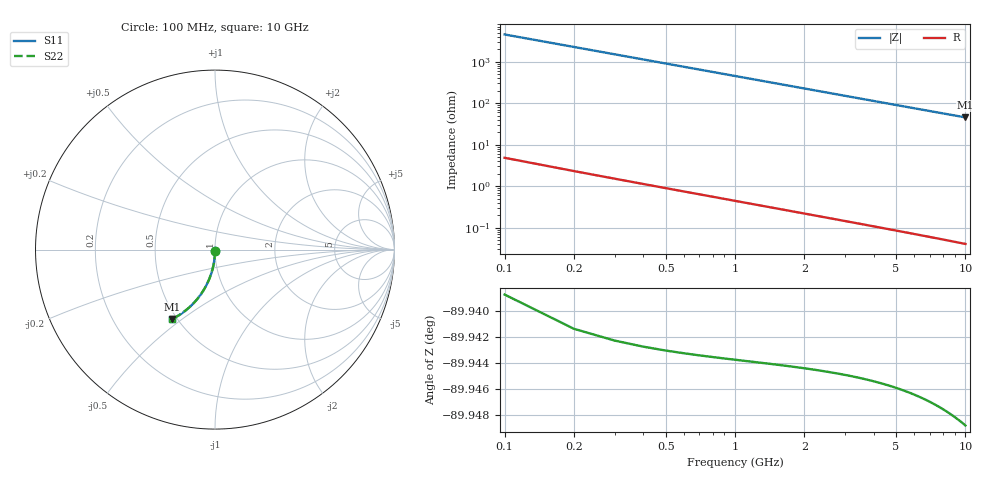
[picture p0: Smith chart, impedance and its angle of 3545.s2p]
# Hz S RI R 50.00
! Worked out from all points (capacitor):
!   100 points, 100 MHz to 10 GHz, reference 50 ohm
!   read as one part in shunt: C = 351 fF near 100 MHz
!   lowest |Z| = 45.6 ohm at 10 GHz (marker M1)
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1e8  0.000131 -0.00512  0.9998 -0.0059  0.9998 -0.0059  0.000131 -0.00512
2e8  3.65e-05 -0.0102  0.9997 -0.0118  0.9997 -0.0118  3.65e-05 -0.0102
3e8  -0.000119 -0.0154  0.9995 -0.0177  0.9995 -0.0177  -0.000119 -0.0154
4e8  -0.000335 -0.0205  0.9993 -0.0236  0.9993 -0.0236  -0.000335 -0.0205
5e8  -0.000612 -0.0256  0.999 -0.0295  0.999 -0.0295  -0.000612 -0.0256
6e8  -0.000949 -0.0307  0.9987 -0.0354  0.9987 -0.0354  -0.000949 -0.0307
7e8  -0.00135 -0.0358  0.9983 -0.0413  0.9983 -0.0413  -0.00135 -0.0358
8e8  -0.0018 -0.0409  0.9978 -0.0471  0.9978 -0.0471  -0.0018 -0.0409
9e8  -0.00232 -0.046  0.9973 -0.053  0.9973 -0.053  -0.00232 -0.046
1.1e9  -0.00353 -0.0561  0.9961 -0.0647  0.9961 -0.0647  -0.00353 -0.0561
1.4e9  -0.0058 -0.0713  0.9938 -0.0822  0.9938 -0.0822  -0.0058 -0.0713
1.8e9  -0.00964 -0.0913  0.9899 -0.1054  0.9899 -0.1054  -0.00964 -0.0913
2.1e9  -0.0131 -0.1061  0.9864 -0.1226  0.9864 -0.1226  -0.0131 -0.1061
2.5e9  -0.0186 -0.1256  0.9809 -0.1452  0.9809 -0.1452  -0.0186 -0.1256
2.9e9  -0.0249 -0.1448  0.9745 -0.1675  0.9745 -0.1675  -0.0249 -0.1448
3.4e9  -0.0339 -0.1681  0.9654 -0.1948  0.9654 -0.1948  -0.0339 -0.1681
4.2e9  -0.051 -0.204  0.9481 -0.2369  0.9481 -0.2369  -0.051 -0.204
5.1e9  -0.0736 -0.2416  0.9252 -0.2817  0.9252 -0.2817  -0.0736 -0.2416
5.9e9  -0.0964 -0.2724  0.9022 -0.3188  0.9022 -0.3188  -0.0964 -0.2724
6.7e9  -0.1212 -0.3005  0.877 -0.3533  0.877 -0.3533  -0.1212 -0.3005
8.4e9  -0.1791 -0.3508  0.8183 -0.4172  0.8183 -0.4172  -0.1791 -0.3508
1e10  -0.2373 -0.3863  0.7591 -0.4657  0.7591 -0.4657  -0.2373 -0.3863
